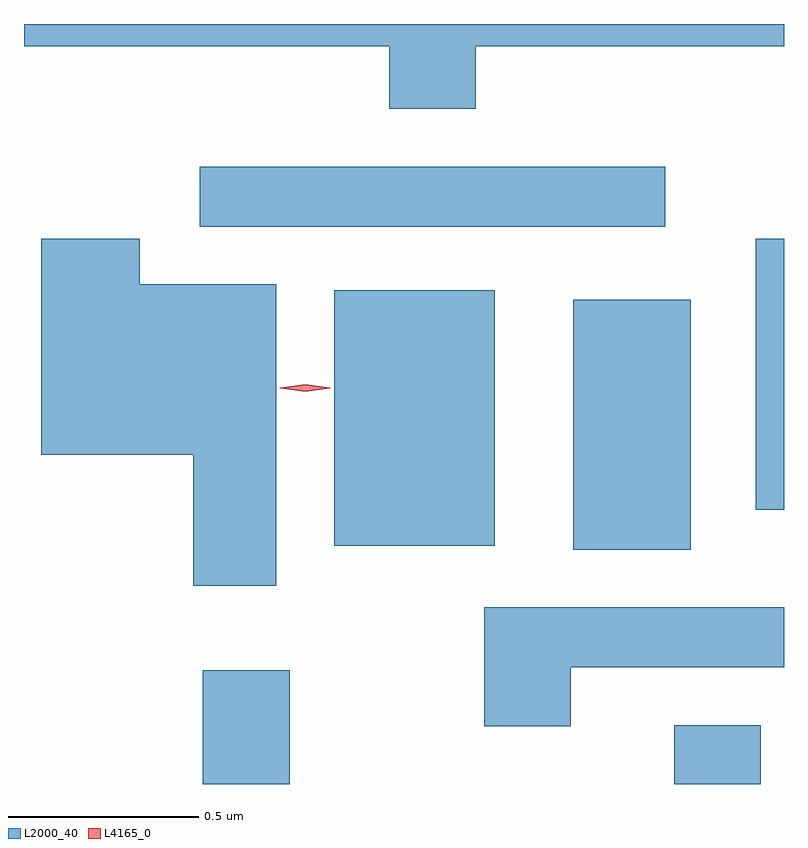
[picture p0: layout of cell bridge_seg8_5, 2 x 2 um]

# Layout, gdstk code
import gdstk
lib = gdstk.Library(unit=1e-6, precision=1e-09)
def R(c, l, rs):  # rectangles x0, y0, x1, y1
    for r in rs: c.add(gdstk.rectangle(r[:2], r[2:], *l))
def P(c, l, *ps):  # polygons
    for p in ps: c.add(gdstk.Polygon(p, *l))
L2000_40 = (2000, 40)
L4165_0 = (4165, 0)

bridge_seg8_5 = lib.new_cell('bridge_seg8_5')
R(bridge_seg8_5, L2000_40, [(1666.461,1892.194,1666.689,1892.494), (1667.701,1892.194,1667.929,1892.349), (1667.436,1892.811,1667.744,1893.469), (1666.806,1892.821,1667.229,1893.494), (1667.916,1892.916,1667.99,1893.629), (1666.453,1893.661,1667.678,1893.819)])
P(bridge_seg8_5, L2000_40, [(1667.179,1894.136),(1667.99,1894.136),(1667.99,1894.194),(1665.99,1894.194),(1665.99,1894.136),(1666.951,1894.136),(1666.951,1893.971),(1667.179,1893.971)],
  [(1666.654,1893.509),(1666.294,1893.509),(1666.294,1893.629),(1666.036,1893.629),(1666.036,1893.061),(1666.436,1893.061),(1666.436,1892.716),(1666.654,1892.716)],
  [(1667.429,1892.501),(1667.99,1892.501),(1667.99,1892.659),(1667.201,1892.659),(1667.201,1892.346),(1667.429,1892.346)])
P(bridge_seg8_5, L4165_0, [(1666.73,1893.226),(1666.664,1893.236),(1666.663,1893.236),(1666.664,1893.237),(1666.73,1893.246),(1666.796,1893.237),(1666.796,1893.236),(1666.796,1893.236)])

lib.write_gds('bridge_seg8_5.gds')
